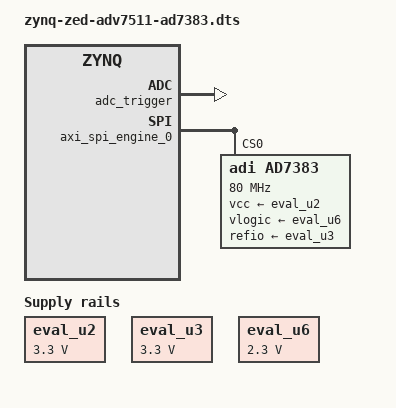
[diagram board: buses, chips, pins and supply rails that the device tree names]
// SPDX-License-Identifier: GPL-2.0
/*
 * Analog Devices EVAL-AD7983FMCZ
 * https://www.analog.com/en/products/ad7983.html
 * https://www.analog.com/en/design-center/evaluation-hardware-and-software/evaluation-boards-kits/eval-ad7383.html
 *
 * hdl_project: <ad738x_fmc/zed>
 * board_revision: <?>
 *
 * Copyright (C) 2023 Analog Devices Inc.
 * Copyright (C) 2023 BayLibre, SAS
 */
/dts-v1/;

#include <dt-bindings/dma/axi-dmac.h>
#include <dt-bindings/gpio/gpio.h>
#include <dt-bindings/interrupt-controller/irq.h>

#include "zynq-zed.dtsi"
#include "zynq-zed-adv7511.dtsi"

/ {
	eval_u2: eval-board-u2-regulator {
		compatible = "regulator-fixed";
		regulator-name = "EVAL +3.3V supply (U2)";
		regulator-min-microvolt = <3300000>;
		regulator-max-microvolt = <3300000>;
		regulator-always-on;
	};

	eval_u3: eval-board-u3-regulator {
		compatible = "regulator-fixed";
		regulator-name = "EVAL +3.3V supply (U3)";
		regulator-min-microvolt = <3300000>;
		regulator-max-microvolt = <3300000>;
		regulator-always-on;
	};

	eval_u6: eval-board-u6-regulator {
		compatible = "regulator-fixed";
		regulator-name = "EVAL +2.3V supply (U6)";
		regulator-min-microvolt = <2300000>;
		regulator-max-microvolt = <2300000>;
		regulator-always-on;
	};
};

&fpga_axi {
	adc_trigger: pwm@44b00000 {
		compatible = "adi,axi-pwmgen";
		reg = <0x44b00000 0x1000>;
		label = "adc_conversion_trigger";
		#pwm-cells = <2>;
		clocks = <&spi_clk>;
	};

	rx_dma: rx-dmac@44a30000 {
		compatible = "adi,axi-dmac-1.00.a";
		reg = <0x44a30000 0x1000>;
		#dma-cells = <1>;
		interrupts = <0 57 IRQ_TYPE_LEVEL_HIGH>;
		clocks = <&clkc 17>;

		adi,channels {
			#size-cells = <0>;
			#address-cells = <1>;

			dma-channel@0 {
				reg = <0>;
				adi,source-bus-width = <32>;
				adi,source-bus-type = <AXI_DMAC_BUS_TYPE_AXI_STREAM>;
				adi,destination-bus-width = <64>;
				adi,destination-bus-type = <AXI_DMAC_BUS_TYPE_AXI_MM>;
			};
		};
	};

	spi_clk: clock-controller@44a70000 {
		compatible = "adi,axi-clkgen-2.00.a";
		reg = <0x44a70000 0x1000>;
		#clock-cells = <0>;
		clocks = <&clkc 15>;
		clock-names = "s_axi_aclk", "clkin1";
		clock-output-names = "spi_clk";

		/* 2x required SCLK rate */
		assigned-clocks = <&spi_clk>;
		assigned-clock-rates = <160000000>;
	};

	axi_spi_engine_0: spi@44a00000 {
		compatible = "adi,axi-spi-engine-1.00.a";
		reg = <0x44a00000 0x1000>;
		interrupt-parent = <&intc>;
		interrupts = <0 56 IRQ_TYPE_LEVEL_HIGH>;
		clocks = <&clkc 15>, <&spi_clk>;
		clock-names = "s_axi_aclk", "spi_clk";

		#address-cells = <0x1>;
		#size-cells = <0x0>;

		offloads {
			#address-cells = <0x1>;
			#size-cells = <0x0>;
	
			offload_0: offload@0 {
				reg = <0>;
				compatible = "adi,axi-spi-engine-offload-pwm-trigger-dma-output";
				pwms = <&adc_trigger 0 0>;
				dmas = <&rx_dma 0>;
				dma-names = "rx";
			};
		};

		ad7383: adc@0 {
			compatible = "adi,ad7383";
			reg = <0>;
			spi-cpol;
			// TODO: awaiting HDL fix for CPHA
			// spi-cpha;
			spi-max-frequency = <80000000>; /* 12.5 ns period */
			adi,sdo-mode = "1-wire";
			vcc-supply = <&eval_u2>;
			vlogic-supply = <&eval_u6>;
			refio-supply = <&eval_u3>;
			adi,offloads = <0>;
		};
	};
};
